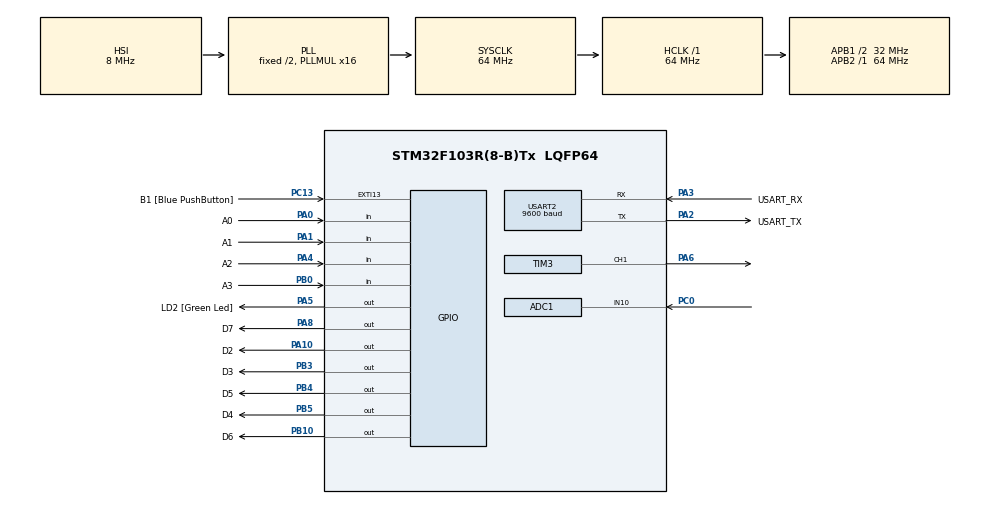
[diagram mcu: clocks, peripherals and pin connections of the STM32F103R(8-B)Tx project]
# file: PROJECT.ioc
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ADC1.Channel-6\#ChannelRegularConversion=ADC_CHANNEL_10
ADC1.ContinuousConvMode=ENABLE
ADC1.NbrOfConversionFlag=1
ADC1.Rank-6\#ChannelRegularConversion=1
ADC1.SamplingTime-6\#ChannelRegularConversion=ADC_SAMPLETIME_1CYCLE_5
ADC1.master=1
Mcu.Family=STM32F1
Mcu.Name=STM32F103R(8-B)Tx
Mcu.Package=LQFP64
NVIC.ADC1_2_IRQn=true\:0\:0\:false\:false\:true\:true\:true\:true
NVIC.EXTI15_10_IRQn=true\:0\:0\:false\:false\:true\:true\:true\:true
NVIC.PriorityGroup=NVIC_PRIORITYGROUP_4
NVIC.TIM2_IRQn=true\:0\:0\:false\:false\:true\:true\:true\:true
NVIC.TIM3_IRQn=true\:0\:0\:false\:false\:true\:true\:true\:true
NVIC.USART2_IRQn=true\:0\:0\:false\:false\:true\:true\:true\:true
PA0-WKUP.GPIO_Label=A0
PA0-WKUP.GPIO_PuPd=GPIO_PULLUP
PA0-WKUP.Signal=GPIO_Input
PA1.GPIO_Label=A1
PA1.GPIO_PuPd=GPIO_PULLUP
PA1.Signal=GPIO_Input
PA10.GPIO_Label=D2
PA10.Signal=GPIO_Output
PA13.GPIO_Label=TMS
PA13.Mode=Serial_Wire
PA13.Signal=SYS_JTMS-SWDIO
PA14.GPIO_Label=TCK
PA14.Mode=Serial_Wire
PA14.Signal=SYS_JTCK-SWCLK
PA2.GPIO_Label=USART_TX
PA2.GPIO_Mode=GPIO_MODE_AF_PP
PA2.GPIO_PuPd=GPIO_NOPULL
PA2.GPIO_Speed=GPIO_SPEED_FREQ_LOW
PA2.Mode=Asynchronous
PA2.Signal=USART2_TX
PA3.GPIO_Label=USART_RX
PA3.GPIO_Mode=GPIO_MODE_AF_PP
PA3.GPIO_PuPd=GPIO_NOPULL
PA3.GPIO_Speed=GPIO_SPEED_FREQ_LOW
PA3.Mode=Asynchronous
PA3.Signal=USART2_RX
PA4.GPIO_Label=A2
PA4.GPIO_PuPd=GPIO_PULLUP
PA4.Signal=GPIO_Input
PA5.GPIO_Label=LD2 [Green Led]
PA5.GPIO_ModeDefaultOutputPP=GPIO_MODE_OUTPUT_PP
PA5.GPIO_PuPd=GPIO_NOPULL
PA5.GPIO_Speed=GPIO_SPEED_FREQ_LOW
PA5.Signal=GPIO_Output
PA6.Signal=S_TIM3_CH1
PA8.GPIO_Label=D7
PA8.Signal=GPIO_Output
PB0.GPIO_Label=A3
PB0.GPIO_PuPd=GPIO_PULLUP
PB0.Signal=GPIO_Input
PB10.GPIO_Label=D6
PB10.Signal=GPIO_Output
PB3.GPIO_Label=D3
PB3.Signal=GPIO_Output
PB4.GPIO_Label=D5
PB4.Signal=GPIO_Output
PB5.GPIO_Label=D4
PB5.Signal=GPIO_Output
PC0.Signal=ADCx_IN10
PC13-TAMPER-RTC.GPIO_Label=B1 [Blue PushButton]
PC13-TAMPER-RTC.GPIO_PuPd=GPIO_NOPULL
PC13-TAMPER-RTC.Signal=GPXTI13
PC14-OSC32_IN.Mode=LSE-External-Oscillator
PC14-OSC32_IN.Signal=RCC_OSC32_IN
PC15-OSC32_OUT.Mode=LSE-External-Oscillator
PC15-OSC32_OUT.Signal=RCC_OSC32_OUT
PD0-OSC_IN.Mode=HSE-External-Clock-Source
PD0-OSC_IN.Signal=RCC_OSC_IN
PD1-OSC_OUT.Mode=HSE-External-Clock-Source
PD1-OSC_OUT.Signal=RCC_OSC_OUT
ProjectManager.HeapSize=0x200
ProjectManager.StackSize=0x400
ProjectManager.TargetToolchain=STM32CubeIDE
RCC.ADCPresc=RCC_ADCPCLK2_DIV8
RCC.AHBFreq_Value=64000000
RCC.APB1CLKDivider=RCC_HCLK_DIV2
RCC.APB1Freq_Value=32000000
RCC.APB1TimFreq_Value=64000000
RCC.APB2Freq_Value=64000000
RCC.APB2TimFreq_Value=64000000
RCC.HCLKFreq_Value=64000000
RCC.PLLMUL=RCC_PLL_MUL16
RCC.RTCClockSelection=RCC_RTCCLKSOURCE_LSE
RCC.SYSCLKFreq_VALUE=64000000
RCC.SYSCLKSource=RCC_SYSCLKSOURCE_PLLCLK
RCC.USBFreq_Value=64000000
SH.ADCx_IN10.0=ADC1_IN10,IN10
SH.S_TIM3_CH1.0=TIM3_CH1,PWM Generation1 CH1
TIM2.Period=19
TIM2.Prescaler=31999
TIM3.Channel-PWM\ Generation1\ CH1=TIM_CHANNEL_1
TIM3.Period=0xff
TIM3.Prescaler=16000000/(256*2000)
USART2.BaudRate=9600
USART2.VirtualMode=VM_ASYNC
VP_TIM2_VS_ClockSourceINT.Mode=Internal
VP_TIM3_VS_ClockSourceINT.Mode=Internal
board=NUCLEO-F103RB

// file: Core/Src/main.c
/* USER CODE BEGIN Header */
/**
  ******************************************************************************
  * @file           : main.c
  * @brief          : Main program body
  ******************************************************************************
  * @attention
  *
  * <h2><center>&copy; Copyright (c) 2022 STMicroelectronics.
  * All rights reserved.</center></h2>
  *
  * This software component is licensed by ST under BSD 3-Clause license,
  * the "License"; You may not use this file except in compliance with the
  * License. You may obtain a copy of the License at:
  *                        opensource.org/licenses/BSD-3-Clause
  *
  ******************************************************************************
  */
/* USER CODE END Header */
#include "main.h"

/* USER CODE BEGIN Includes */
#include "software_timer.h"
#include "global.h"
#include "fsm_auto.h"
#include "fsm_manual.h"
#include "Melody.h"
/* USER CODE END Includes */

ADC_HandleTypeDef hadc1;

TIM_HandleTypeDef htim2;
TIM_HandleTypeDef htim3;

UART_HandleTypeDef huart2;

void SystemClock_Config(void);
static void MX_GPIO_Init(void);
static void MX_USART2_UART_Init(void);
static void MX_TIM2_Init(void);
static void MX_TIM3_Init(void);
static void MX_ADC1_Init(void);
/* USER CODE BEGIN PFP */
//void test_IO(){
//	HAL_GPIO_WritePin(D4_GPIO_Port, D4_Pin, HAL_GPIO_ReadPin(A1_GPIO_Port, A1_Pin));
//	HAL_GPIO_WritePin(D5_GPIO_Port, D5_Pin, HAL_GPIO_ReadPin(A1_GPIO_Port, A1_Pin));
//
//}
/* USER CODE END PFP */

/* USER CODE BEGIN 0 */
//void HAL_UART_RxCpltCallback(UART_HandleTypeDef *huart){
//	if (huart->Instance == USART2){
//		HAL_UART_Transmit(&huart2, &buffer_byte, 1, 500);
//		buffer[index_buffer] = buffer_byte;
//		index_buffer++;
//		if (index_buffer == MAX_BUFFER_SIZE) index_buffer = 0;
//		buffer_flag = 1;
//		HAL_UART_Receive_IT(&huart2, &buffer_byte, 1);
//	}
//}
/* USER CODE END 0 */

int main(void)
{

  /* MCU Configuration--------------------------------------------------------*/

  /* Reset of all peripherals, Initializes the Flash interface and the Systick. */
  HAL_Init();

  /* Configure the system clock */
  SystemClock_Config();

  /* Initialize all configured peripherals */
  MX_GPIO_Init();
  MX_USART2_UART_Init();
  MX_TIM2_Init();
  MX_TIM3_Init();
  MX_ADC1_Init();
  /* USER CODE BEGIN 2 */
  HAL_TIM_PWM_Start(&htim3, TIM_CHANNEL_1);
  HAL_TIM_Base_Start_IT (&htim2);
  HAL_ADC_Start(&hadc1);
  LedTimeInit();
  Setup();
  setTimer9(100);
  /* USER CODE END 2 */

  /* Infinite loop */
  /* USER CODE BEGIN WHILE */

  while (1)
  {
//	  test_IO();
	  fsm_auto_run();
	  fsm_manual_run();
//	  if (buffer_flag == 1){
//		  cmd_parser_fsm();
//		  buffer_flag = 0;
//	  }
	  uart_communiation_fsm();
    /* USER CODE END WHILE */

  }
}

void SystemClock_Config(void)
{
  RCC_OscInitTypeDef RCC_OscInitStruct = {0};
  RCC_ClkInitTypeDef RCC_ClkInitStruct = {0};
  RCC_PeriphCLKInitTypeDef PeriphClkInit = {0};

  /** Initializes the RCC Oscillators according to the specified parameters
  * in the RCC_OscInitTypeDef structure.
  */
  RCC_OscInitStruct.OscillatorType = RCC_OSCILLATORTYPE_HSI;
  RCC_OscInitStruct.HSIState = RCC_HSI_ON;
  RCC_OscInitStruct.HSICalibrationValue = RCC_HSICALIBRATION_DEFAULT;
  RCC_OscInitStruct.PLL.PLLState = RCC_PLL_ON;
  RCC_OscInitStruct.PLL.PLLSource = RCC_PLLSOURCE_HSI_DIV2;
  RCC_OscInitStruct.PLL.PLLMUL = RCC_PLL_MUL16;
  if (HAL_RCC_OscConfig(&RCC_OscInitStruct) != HAL_OK)
  {
    Error_Handler();
  }

  /** Initializes the CPU, AHB and APB buses clocks
  */
  RCC_ClkInitStruct.ClockType = RCC_CLOCKTYPE_HCLK|RCC_CLOCKTYPE_SYSCLK
                              |RCC_CLOCKTYPE_PCLK1|RCC_CLOCKTYPE_PCLK2;
  RCC_ClkInitStruct.SYSCLKSource = RCC_SYSCLKSOURCE_PLLCLK;
  RCC_ClkInitStruct.AHBCLKDivider = RCC_SYSCLK_DIV1;
  RCC_ClkInitStruct.APB1CLKDivider = RCC_HCLK_DIV2;
  RCC_ClkInitStruct.APB2CLKDivider = RCC_HCLK_DIV1;

  if (HAL_RCC_ClockConfig(&RCC_ClkInitStruct, FLASH_LATENCY_2) != HAL_OK)
  {
    Error_Handler();
  }
  PeriphClkInit.PeriphClockSelection = RCC_PERIPHCLK_ADC;
  PeriphClkInit.AdcClockSelection = RCC_ADCPCLK2_DIV8;
  if (HAL_RCCEx_PeriphCLKConfig(&PeriphClkInit) != HAL_OK)
  {
    Error_Handler();
  }
}

static void MX_ADC1_Init(void)
{

  ADC_ChannelConfTypeDef sConfig = {0};

  /** Common config
  */
  hadc1.Instance = ADC1;
  hadc1.Init.ScanConvMode = ADC_SCAN_DISABLE;
  hadc1.Init.ContinuousConvMode = ENABLE;
  hadc1.Init.DiscontinuousConvMode = DISABLE;
  hadc1.Init.ExternalTrigConv = ADC_SOFTWARE_START;
  hadc1.Init.DataAlign = ADC_DATAALIGN_RIGHT;
  hadc1.Init.NbrOfConversion = 1;
  if (HAL_ADC_Init(&hadc1) != HAL_OK)
  {
    Error_Handler();
  }

  /** Configure Regular Channel
  */
  sConfig.Channel = ADC_CHANNEL_10;
  sConfig.Rank = ADC_REGULAR_RANK_1;
  sConfig.SamplingTime = ADC_SAMPLETIME_1CYCLE_5;
  if (HAL_ADC_ConfigChannel(&hadc1, &sConfig) != HAL_OK)
  {
    Error_Handler();
  }

}

static void MX_TIM2_Init(void)
{

  TIM_ClockConfigTypeDef sClockSourceConfig = {0};
  TIM_MasterConfigTypeDef sMasterConfig = {0};

  htim2.Instance = TIM2;
  htim2.Init.Prescaler = 31999;
  htim2.Init.CounterMode = TIM_COUNTERMODE_UP;
  htim2.Init.Period = 19;
  htim2.Init.ClockDivision = TIM_CLOCKDIVISION_DIV1;
  htim2.Init.AutoReloadPreload = TIM_AUTORELOAD_PRELOAD_DISABLE;
  if (HAL_TIM_Base_Init(&htim2) != HAL_OK)
  {
    Error_Handler();
  }
  sClockSourceConfig.ClockSource = TIM_CLOCKSOURCE_INTERNAL;
  if (HAL_TIM_ConfigClockSource(&htim2, &sClockSourceConfig) != HAL_OK)
  {
    Error_Handler();
  }
  sMasterConfig.MasterOutputTrigger = TIM_TRGO_RESET;
  sMasterConfig.MasterSlaveMode = TIM_MASTERSLAVEMODE_DISABLE;
  if (HAL_TIMEx_MasterConfigSynchronization(&htim2, &sMasterConfig) != HAL_OK)
  {
    Error_Handler();
  }

}

static void MX_TIM3_Init(void)
{

  TIM_ClockConfigTypeDef sClockSourceConfig = {0};
  TIM_MasterConfigTypeDef sMasterConfig = {0};
  TIM_OC_InitTypeDef sConfigOC = {0};

  htim3.Instance = TIM3;
  htim3.Init.Prescaler = 16000000/(256*2000);
  htim3.Init.CounterMode = TIM_COUNTERMODE_UP;
  htim3.Init.Period = 0xff;
  htim3.Init.ClockDivision = TIM_CLOCKDIVISION_DIV1;
  htim3.Init.AutoReloadPreload = TIM_AUTORELOAD_PRELOAD_DISABLE;
  if (HAL_TIM_Base_Init(&htim3) != HAL_OK)
  {
    Error_Handler();
  }
  sClockSourceConfig.ClockSource = TIM_CLOCKSOURCE_INTERNAL;
  if (HAL_TIM_ConfigClockSource(&htim3, &sClockSourceConfig) != HAL_OK)
  {
    Error_Handler();
  }
  if (HAL_TIM_PWM_Init(&htim3) != HAL_OK)
  {
    Error_Handler();
  }
  sMasterConfig.MasterOutputTrigger = TIM_TRGO_RESET;
  sMasterConfig.MasterSlaveMode = TIM_MASTERSLAVEMODE_DISABLE;
  if (HAL_TIMEx_MasterConfigSynchronization(&htim3, &sMasterConfig) != HAL_OK)
  {
    Error_Handler();
  }
  sConfigOC.OCMode = TIM_OCMODE_PWM1;
  sConfigOC.Pulse = 0;
  sConfigOC.OCPolarity = TIM_OCPOLARITY_HIGH;
  sConfigOC.OCFastMode = TIM_OCFAST_DISABLE;
  if (HAL_TIM_PWM_ConfigChannel(&htim3, &sConfigOC, TIM_CHANNEL_1) != HAL_OK)
  {
    Error_Handler();
  }
  HAL_TIM_MspPostInit(&htim3);

}

static void MX_USART2_UART_Init(void)
{

  huart2.Instance = USART2;
  huart2.Init.BaudRate = 9600;
  huart2.Init.WordLength = UART_WORDLENGTH_8B;
  huart2.Init.StopBits = UART_STOPBITS_1;
  huart2.Init.Parity = UART_PARITY_NONE;
  huart2.Init.Mode = UART_MODE_TX_RX;
  huart2.Init.HwFlowCtl = UART_HWCONTROL_NONE;
  huart2.Init.OverSampling = UART_OVERSAMPLING_16;
  if (HAL_UART_Init(&huart2) != HAL_OK)
  {
    Error_Handler();
  }

}

static void MX_GPIO_Init(void)
{
  GPIO_InitTypeDef GPIO_InitStruct = {0};

  /* GPIO Ports Clock Enable */
  __HAL_RCC_GPIOC_CLK_ENABLE();
  __HAL_RCC_GPIOD_CLK_ENABLE();
  __HAL_RCC_GPIOA_CLK_ENABLE();
  __HAL_RCC_GPIOB_CLK_ENABLE();

  /*Configure GPIO pin Output Level */
  HAL_GPIO_WritePin(GPIOA, LD2_Pin|D7_Pin|D2_Pin, GPIO_PIN_RESET);

  /*Configure GPIO pin Output Level */
  HAL_GPIO_WritePin(GPIOB, D6_Pin|D3_Pin|D5_Pin|D4_Pin, GPIO_PIN_RESET);

  /*Configure GPIO pin : B1_Pin */
  GPIO_InitStruct.Pin = B1_Pin;
  GPIO_InitStruct.Mode = GPIO_MODE_IT_RISING;
  GPIO_InitStruct.Pull = GPIO_NOPULL;
  HAL_GPIO_Init(B1_GPIO_Port, &GPIO_InitStruct);

  /*Configure GPIO pins : A0_Pin A1_Pin A2_Pin */
  GPIO_InitStruct.Pin = A0_Pin|A1_Pin|A2_Pin;
  GPIO_InitStruct.Mode = GPIO_MODE_INPUT;
  GPIO_InitStruct.Pull = GPIO_PULLUP;
  HAL_GPIO_Init(GPIOA, &GPIO_InitStruct);

  /*Configure GPIO pins : LD2_Pin D7_Pin D2_Pin */
  GPIO_InitStruct.Pin = LD2_Pin|D7_Pin|D2_Pin;
  GPIO_InitStruct.Mode = GPIO_MODE_OUTPUT_PP;
  GPIO_InitStruct.Pull = GPIO_NOPULL;
  GPIO_InitStruct.Speed = GPIO_SPEED_FREQ_LOW;
  HAL_GPIO_Init(GPIOA, &GPIO_InitStruct);

  /*Configure GPIO pin : A3_Pin */
  GPIO_InitStruct.Pin = A3_Pin;
  GPIO_InitStruct.Mode = GPIO_MODE_INPUT;
  GPIO_InitStruct.Pull = GPIO_PULLUP;
  HAL_GPIO_Init(A3_GPIO_Port, &GPIO_InitStruct);

  /*Configure GPIO pins : D6_Pin D3_Pin D5_Pin D4_Pin */
  GPIO_InitStruct.Pin = D6_Pin|D3_Pin|D5_Pin|D4_Pin;
  GPIO_InitStruct.Mode = GPIO_MODE_OUTPUT_PP;
  GPIO_InitStruct.Pull = GPIO_NOPULL;
  GPIO_InitStruct.Speed = GPIO_SPEED_FREQ_LOW;
  HAL_GPIO_Init(GPIOB, &GPIO_InitStruct);

  /* EXTI interrupt init*/
  HAL_NVIC_SetPriority(EXTI15_10_IRQn, 0, 0);
  HAL_NVIC_EnableIRQ(EXTI15_10_IRQn);

}

/* USER CODE BEGIN 4 */
void HAL_TIM_PeriodElapsedCallback(TIM_HandleTypeDef *htim){
	timerRun();
	getKeyInput();
}
/* USER CODE END 4 */

void Error_Handler(void)
{
  __disable_irq();
  while (1)
  {
  }
}
